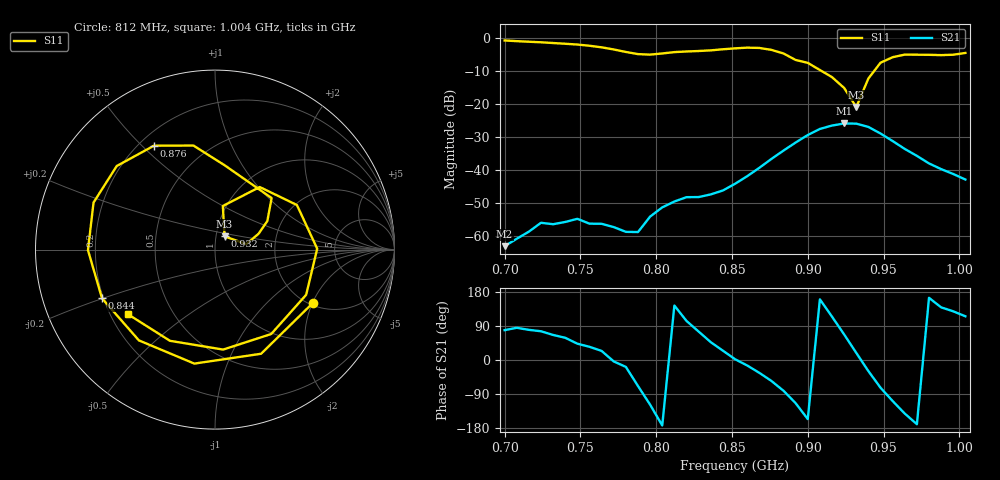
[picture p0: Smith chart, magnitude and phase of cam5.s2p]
# Hz S RI R 50
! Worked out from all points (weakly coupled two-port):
!   39 points, 700 MHz to 1.004 GHz, reference 50 ohm
!   highest |S21| = -25.80 dB at 924 MHz (marker M1); lowest = -63.0 dB at 700 MHz (marker M2)
!   lowest |S11| = -20.8 dB at 932 MHz (marker M3), VSWR 1.20, Z = 55 + j8.18 ohm
!   |S11| at or under -10 dB: 909.6 MHz to 943.6 MHz (34.01 MHz wide, 3.67 % of centre)
!   S12 and S22 are empty: the file has one direction only
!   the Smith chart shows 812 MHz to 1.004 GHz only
!   S11 on the Smith chart (normalised r, x): 812 MHz: 2.08, -2.01; 844 MHz: 0.19, -0.20; 876 MHz: 0.26, +0.54; 932 MHz: 1.10, +0.16; 1.004 GHz: 0.27, -0.31
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7e8  0.7672 0.5309  0.000137 0.000691  0 0  0 0
7.24e8  0.835 -0.2615  0.000391 0.00155  0 0  0 0
7.4e8  0.4428 -0.7034  0.000855 0.0014  0 0  0 0
7.56e8  -0.1983 -0.7497  0.00127 0.000884  0 0  0 0
7.72e8  -0.6534 -0.1918  0.00137 -9.13e-05  0 0  0 0
7.8e8  -0.5805 0.2295  0.0011 -0.000364  0 0  0 0
7.88e8  -0.2304 0.5313  0.00042 -0.00108  0 0  0 0
7.96e8  0.2573 0.5072  -0.000929 -0.00175  0 0  0 0
8.04e8  0.5718 0.1539  -0.00271 -0.000345  0 0  0 0
8.12e8  0.5453 -0.2972  -0.00271 0.00198  0 0  0 0
8.28e8  -0.115 -0.6352  0.00101 0.00379  0 0  0 0
8.44e8  -0.6295 -0.2713  0.00448 0.00206  0 0  0 0
8.52e8  -0.7078 -0.00292  0.00622 0.000234  0 0  0 0
8.76e8  -0.3401 0.579  0.00847 -0.0122  0 0  0 0
9e8  0.3155 0.2871  -0.0313 -0.014  0 0  0 0
9.08e8  0.2916 0.1593  -0.0398 0.0145  0 0  0 0
9.24e8  0.1748 0.0306  0.0197 0.0474  0 0  0 0
9.32e8  0.0534 0.0737  0.0483 0.0164  0 0  0 0
9.4e8  0.0436 0.2429  0.0396 -0.0223  0 0  0 0
9.56e8  0.4564 0.2485  -0.0087 -0.0264  0 0  0 0
9.8e8  0.313 -0.4704  -0.0122 0.00349  0 0  0 0
1.004e9  -0.4829 -0.3614  -0.0031 0.00655  0 0  0 0
